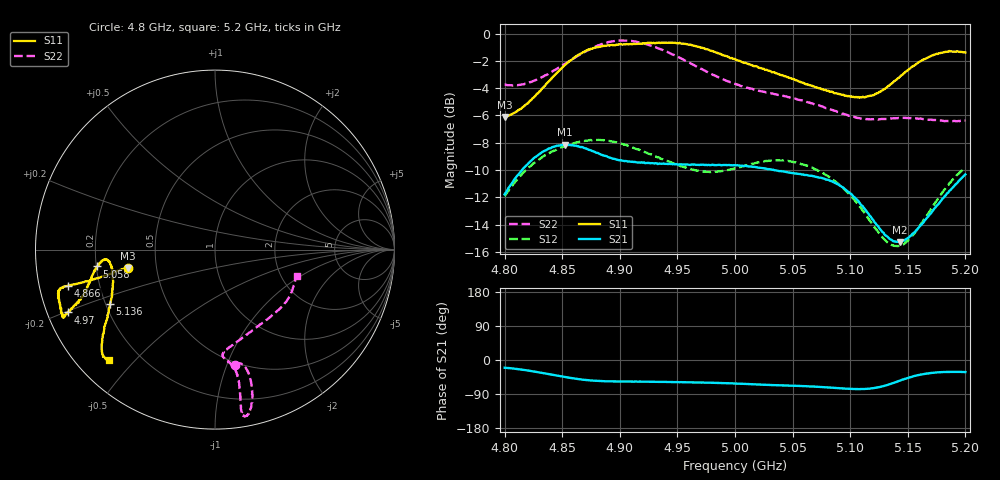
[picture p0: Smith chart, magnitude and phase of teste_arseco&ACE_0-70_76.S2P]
! Network Analyzer HP8722D
! Hewlett-Packard
! Data name: Linha & Wilkinson
! Saver's name: Rodrigo Anjos
! Comments: Teste da utilização de aquisição
! continua pelo VNA HP8722D
! Time and date: 8/5/2025 13:23
!  Frequency  S11  S21  S12  S22
# HZ  S  MA R 50
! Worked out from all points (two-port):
!   401 points, 4.8 GHz to 5.2 GHz, reference 50 ohm
!   highest |S21| = -8.14 dB at 4.852 GHz (marker M1); lowest = -15.3 dB at 5.143 GHz (marker M2)
!   |S21| within 3 dB of the highest: 4.805 GHz to 5.091 GHz (286 MHz wide, 5.78 % of centre); 5.190568 GHz to end of sweep
!   lowest |S11| = -6.1 dB at 4.8 GHz (marker M3), VSWR 2.96, Z = 17.1 - j4.65 ohm
!   |S11| at or under -10 dB: nowhere
!   |S22| runs from -6.4 to -0.5 dB; largest |S21 - S12| = 0.62
!   S11 on the Smith chart (normalised r, x): 4.8 GHz: 0.34, -0.09; 4.866 GHz: 0.09, -0.12; 4.97 GHz: 0.06, -0.20; 5.058 GHz: 0.20, -0.07; 5.136 GHz: 0.22, -0.23; 5.2 GHz: 0.09, -0.42
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4.8e9  0.4949 -168.0  0.2577 -20.5  0.2539 -141.5  0.6505 -80.2
4.826e9  0.5879 -167.2  0.3516 -30.7  0.3362 -145.5  0.673 -75.7
4.852e9  0.765 -166.1  0.3918 -44.8  0.3872 -150.2  0.7734 -74.8
4.866e9  0.8436 -166.2  0.3838 -51.1  0.4021 -152.5  0.8401 -75.6
4.867e9  0.8478 -166.1  0.3845 -51.5  0.4028 -152.6  0.8461 -75.7
4.88e9  0.8908 -165.8  0.3656 -55.2  0.4079 -154.7  0.9012 -77.1
4.9e9  0.9134 -163.0  0.3434 -56.7  0.3962 -156.9  0.943 -79.4
4.934e9  0.9273 -156.7  0.334 -57.8  0.3517 -155.9  0.8809 -80.6
4.97e9  0.8895 -156.8  0.3311 -59.5  0.3134 -147.3  0.744 -79.7
5e9  0.8063 -159.6  0.3294 -62.1  0.3215 -137.6  0.6542 -81.4
5.035e9  0.7176 -165.9  0.3158 -66.4  0.3439 -134.8  0.5996 -85.7
5.058e9  0.6632 -171.9  0.3044 -68.8  0.3318 -136.6  0.5694 -84.5
5.067e9  0.6436 -173.5  0.3013 -69.8  0.3232 -137.4  0.5552 -82.5
5.085e9  0.61 -174.8  0.286 -73.2  0.2919 -139.0  0.5244 -75.5
5.1e9  0.5888 -172.3  0.2597 -76.2  0.2558 -139.2  0.5004 -66.8
5.114e9  0.5878 -166.2  0.2236 -76.2  0.2152 -136.3  0.486 -56.9
5.134e9  0.6452 -153.9  0.1771 -64.2  0.1698 -119.6  0.4886 -43.0
5.136e9  0.6566 -152.7  0.1755 -62.2  0.168 -117.2  0.4888 -41.7
5.143e9  0.6939 -149.0  0.1723 -54.7  0.167 -108.0  0.4904 -37.8
5.154e9  0.7577 -144.5  0.1845 -43.8  0.1818 -94.4  0.4901 -32.2
5.173e9  0.8372 -139.1  0.2285 -33.4  0.2372 -80.9  0.4826 -24.2
5.2e9  0.8517 -134.0  0.3048 -31.9  0.323 -77.4  0.4804 -17.5
